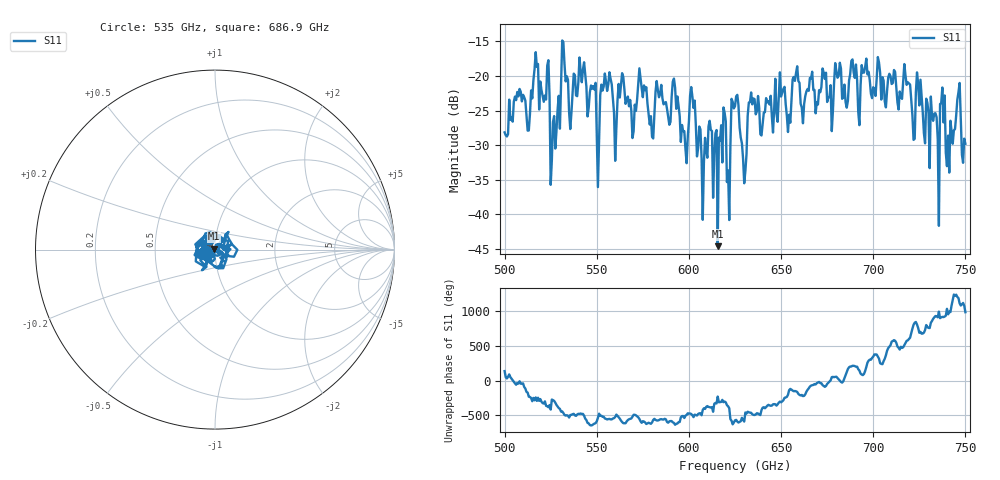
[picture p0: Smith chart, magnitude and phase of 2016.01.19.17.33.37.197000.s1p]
!Created with skrf (http://scikit-rf.org).
# GHz S RI R 50.0
!freq ReS11 ImS11
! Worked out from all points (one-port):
!   401 points, 500 GHz to 750 GHz, reference 50 ohm
!   lowest |S11| = -44.6 dB at 615.6 GHz (marker M1), VSWR 1.01, Z = 49.6 + j0.462 ohm
!   |S11| at or under -10 dB: start of sweep to end of sweep
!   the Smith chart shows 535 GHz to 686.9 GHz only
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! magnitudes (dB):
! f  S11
! 500 GHz  -28.2
! 513.1 GHz  -27.9
! 516.9 GHz  -16.6
! 523.1 GHz  -18.5
! 526.2 GHz  -26.6
! 531.2 GHz  -14.9
! 535.6 GHz  -27.7
! 541.9 GHz  -20.9
! 551.2 GHz  -29.3
! 553.8 GHz  -21.5
! 560 GHz  -32.3
! 562.5 GHz  -23.1
! 579.4 GHz  -25.8
! 593.8 GHz  -23.0
! 615.6 GHz  -44.6
! 618.8 GHz  -24.6
! 621.2 GHz  -33.6
! 625 GHz  -24.4
! 630 GHz  -35.5
! 633.8 GHz  -22.4
! 656.2 GHz  -20.5
! 687.5 GHz  -19.7
! 718.8 GHz  -20.9
! 734.4 GHz  -26.0
! 737.5 GHz  -21.7
! 740.6 GHz  -28.6
! 746.2 GHz  -22.3
! 750 GHz  -29.8
